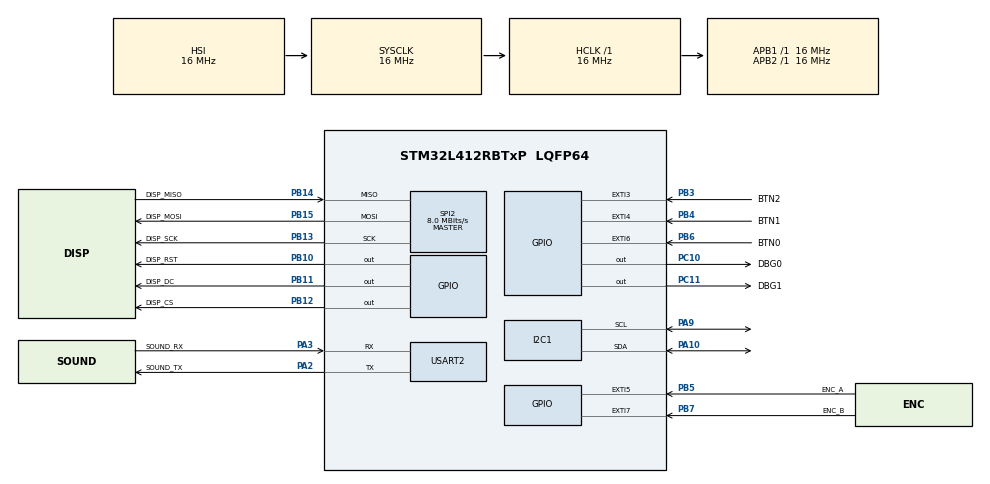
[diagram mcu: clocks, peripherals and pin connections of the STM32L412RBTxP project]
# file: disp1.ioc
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I2C1.Timing=0x00503D58
LPTIM2.ClockPrescaler=LPTIM_PRESCALER_DIV8
Mcu.Family=STM32L4
Mcu.Name=STM32L412RBTxP
Mcu.Package=LQFP64
NVIC.EXTI3_IRQn=true\:0\:0\:false\:false\:true\:true\:true\:true
NVIC.EXTI4_IRQn=true\:0\:0\:false\:false\:true\:true\:true\:true
NVIC.EXTI9_5_IRQn=true\:0\:0\:false\:false\:true\:true\:true\:true
NVIC.LPTIM2_IRQn=true\:0\:0\:false\:false\:true\:true\:true\:true
NVIC.PriorityGroup=NVIC_PRIORITYGROUP_4
PA10.Mode=I2C
PA10.Signal=I2C1_SDA
PA13\ (JTMS/SWDIO).Mode=Serial_Wire
PA13\ (JTMS/SWDIO).Signal=SYS_JTMS-SWDIO
PA14\ (JTCK/SWCLK).Mode=Serial_Wire
PA14\ (JTCK/SWCLK).Signal=SYS_JTCK-SWCLK
PA2.GPIO_Label=SOUND_TX
PA2.Mode=Asynchronous
PA2.Signal=USART2_TX
PA3.GPIO_Label=SOUND_RX
PA3.Mode=Asynchronous
PA3.Signal=USART2_RX
PA9.Mode=I2C
PA9.Signal=I2C1_SCL
PB10.GPIO_Label=DISP_RST
PB10.Signal=GPIO_Output
PB11.GPIO_Label=DISP_DC
PB11.Signal=GPIO_Output
PB12.GPIO_Label=DISP_CS
PB12.Signal=GPIO_Output
PB13.GPIO_Label=DISP_SCK
PB13.Mode=Full_Duplex_Master
PB13.Signal=SPI2_SCK
PB14.GPIO_Label=DISP_MISO
PB14.Mode=Full_Duplex_Master
PB14.Signal=SPI2_MISO
PB15.GPIO_Label=DISP_MOSI
PB15.Mode=Full_Duplex_Master
PB15.Signal=SPI2_MOSI
PB3\ (JTDO/TRACESWO).GPIO_Label=BTN2
PB3\ (JTDO/TRACESWO).GPIO_ModeDefaultEXTI=GPIO_MODE_IT_RISING_FALLING
PB3\ (JTDO/TRACESWO).GPIO_PuPd=GPIO_PULLUP
PB3\ (JTDO/TRACESWO).Signal=GPXTI3
PB4\ (NJTRST).GPIO_Label=BTN1
PB4\ (NJTRST).GPIO_ModeDefaultEXTI=GPIO_MODE_IT_RISING_FALLING
PB4\ (NJTRST).GPIO_PuPd=GPIO_PULLUP
PB4\ (NJTRST).Signal=GPXTI4
PB5.GPIO_Label=ENC_A
PB5.GPIO_ModeDefaultEXTI=GPIO_MODE_IT_RISING_FALLING
PB5.GPIO_PuPd=GPIO_PULLUP
PB5.Signal=GPXTI5
PB6.GPIO_Label=BTN0
PB6.GPIO_ModeDefaultEXTI=GPIO_MODE_IT_RISING_FALLING
PB6.GPIO_PuPd=GPIO_PULLUP
PB6.Signal=GPXTI6
PB7.GPIO_Label=ENC_B
PB7.GPIO_ModeDefaultEXTI=GPIO_MODE_IT_RISING_FALLING
PB7.GPIO_PuPd=GPIO_PULLUP
PB7.Signal=GPXTI7
PC10.GPIO_Label=DBG0
PC10.Signal=GPIO_Output
PC11.GPIO_Label=DBG1
PC11.Signal=GPIO_Output
ProjectManager.HeapSize=0x200
ProjectManager.StackSize=0x400
ProjectManager.TargetToolchain=STM32CubeIDE
RCC.ADCFreq_Value=16000000
RCC.AHBFreq_Value=16000000
RCC.APB1Freq_Value=16000000
RCC.APB1TimFreq_Value=16000000
RCC.APB2Freq_Value=16000000
RCC.APB2TimFreq_Value=16000000
RCC.CortexFreq_Value=16000000
RCC.HCLKFreq_Value=16000000
RCC.HSE_VALUE=8000000
RCC.HSI48_VALUE=48000000
RCC.HSI_VALUE=16000000
RCC.LPTIM2CLockSelection=RCC_LPTIM2CLKSOURCE_LSI
RCC.LSE_VALUE=32768
RCC.MSI_VALUE=4000000
RCC.SYSCLKFreq_VALUE=16000000
RCC.SYSCLKSource=RCC_SYSCLKSOURCE_HSI
RCC.USBFreq_Value=4000000
RCC.VCOOutputFreq_Value=32000000
SPI2.BaudRatePrescaler=SPI_BAUDRATEPRESCALER_2
SPI2.CalculateBaudRate=8.0 MBits/s
SPI2.DataSize=SPI_DATASIZE_8BIT
SPI2.Direction=SPI_DIRECTION_2LINES
SPI2.Mode=SPI_MODE_MASTER
SPI2.TIMode=SPI_TIMODE_DISABLE
SPI2.VirtualType=VM_MASTER
USART2.VirtualMode-Asynchronous=VM_ASYNC
VP_LPTIM2_VS_LPTIM_counterModeInternalClock.Mode=Counts__internal_clock_event_00
board=custom

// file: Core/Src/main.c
/* USER CODE BEGIN Header */
/**
  ******************************************************************************
  * @file           : main.c
  * @brief          : Main program body
  ******************************************************************************
  * @attention
  *
  * Copyright (c) 2025 STMicroelectronics.
  * All rights reserved.
  *
  * This software is licensed under terms that can be found in the LICENSE file
  * in the root directory of this software component.
  * If no LICENSE file comes with this software, it is provided AS-IS.
  *
  ******************************************************************************
  */
/* USER CODE END Header */
#include "main.h"
#include "i2c.h"
#include "lptim.h"
#include "spi.h"
#include "usart.h"
#include "gpio.h"

/* USER CODE BEGIN Includes */
#include "disp.h"
#include "fonts.h"
#include "usr_in.h"
#include "scheduler.h"
#include "app.h"

/* USER CODE END Includes */

void SystemClock_Config(void);
/* USER CODE BEGIN PFP */
//HAL_GPIO_WritePin(DBG1_GPIO_Port, DBG1_Pin, GPIO_PIN_SET);
#define set_pin(x)  HAL_GPIO_WritePin(x##_GPIO_Port, x##_Pin, GPIO_PIN_SET);
//HAL_GPIO_WritePin(DBG1_GPIO_Port, DBG1_Pin, GPIO_PIN_RESET);
#define clr_pin(x)  HAL_GPIO_WritePin(x##_GPIO_Port, x##_Pin, GPIO_PIN_RESET);
/* USER CODE END PFP */

/* USER CODE BEGIN 0 */
void main_lptim2_isr(void) {
	LL_LPTIM_ClearFlag_CMPM(LPTIM2);
	//HAL_GPIO_WritePin(DBG0_GPIO_Port, DBG0_Pin, GPIO_PIN_SET);
	set_pin(DBG0);
	set_pin(DBG1);
	ev_timer_ISR();
	clr_pin(DBG1);
	clr_pin(DBG0);
}

/* USER CODE END 0 */

int main(void)
{

  /* USER CODE BEGIN 1 */
	event_t tev;
  /* USER CODE END 1 */

  /* MCU Configuration--------------------------------------------------------*/

  /* Reset of all peripherals, Initializes the Flash interface and the Systick. */
  HAL_Init();

  /* Configure the system clock */
  SystemClock_Config();

  /* Initialize all configured peripherals */
  MX_GPIO_Init();
  MX_SPI2_Init();
  MX_USART2_UART_Init();
  MX_I2C1_Init();
  MX_LPTIM2_Init();
  /* USER CODE BEGIN 2 */
  	HAL_GPIO_WritePin(DBG0_GPIO_Port, DBG0_Pin, GPIO_PIN_RESET);
  	HAL_GPIO_WritePin(DBG1_GPIO_Port, DBG1_Pin, GPIO_PIN_RESET);

  	usr_in_init();

	disp_init();
	disp_rotation(6, 0, 0); // correct rotation for this project

	// call MX_LPTIM2_Init(); before, scheduler, event_timer uses LPTIM2
	scheduler_init();
	events_start_timer(1);
	app_init();

/*
	tev.data = NULL;
	tev.event = 100;
	tev.tid = app_ev_task_id;
	events_add_single_timer_event(3, &tev); // 100 * 10 ms
	tev.event = 101;
	events_add_single_timer_event(4, &tev); // 100 * 10 ms
	tev.event = 102;
	events_add_single_timer_event(7, &tev); // 100 * 10 ms
	tev.event = 103;
	events_add_single_timer_event(12, &tev); // 100 * 10 ms*/

  /* USER CODE END 2 */

  /* Infinite loop */
  /* USER CODE BEGIN WHILE */
	while (1)
	{
		scheduler_run();
    /* USER CODE END WHILE */

	}
}

void SystemClock_Config(void)
{
  RCC_OscInitTypeDef RCC_OscInitStruct = {0};
  RCC_ClkInitTypeDef RCC_ClkInitStruct = {0};

  /** Configure the main internal regulator output voltage
  */
  if (HAL_PWREx_ControlVoltageScaling(PWR_REGULATOR_VOLTAGE_SCALE1) != HAL_OK)
  {
    Error_Handler();
  }

  /** Initializes the RCC Oscillators according to the specified parameters
  * in the RCC_OscInitTypeDef structure.
  */
  RCC_OscInitStruct.OscillatorType = RCC_OSCILLATORTYPE_HSI|RCC_OSCILLATORTYPE_LSI;
  RCC_OscInitStruct.HSIState = RCC_HSI_ON;
  RCC_OscInitStruct.HSICalibrationValue = RCC_HSICALIBRATION_DEFAULT;
  RCC_OscInitStruct.LSIState = RCC_LSI_ON;
  RCC_OscInitStruct.PLL.PLLState = RCC_PLL_NONE;
  if (HAL_RCC_OscConfig(&RCC_OscInitStruct) != HAL_OK)
  {
    Error_Handler();
  }

  /** Initializes the CPU, AHB and APB buses clocks
  */
  RCC_ClkInitStruct.ClockType = RCC_CLOCKTYPE_HCLK|RCC_CLOCKTYPE_SYSCLK
                              |RCC_CLOCKTYPE_PCLK1|RCC_CLOCKTYPE_PCLK2;
  RCC_ClkInitStruct.SYSCLKSource = RCC_SYSCLKSOURCE_HSI;
  RCC_ClkInitStruct.AHBCLKDivider = RCC_SYSCLK_DIV1;
  RCC_ClkInitStruct.APB1CLKDivider = RCC_HCLK_DIV1;
  RCC_ClkInitStruct.APB2CLKDivider = RCC_HCLK_DIV1;

  if (HAL_RCC_ClockConfig(&RCC_ClkInitStruct, FLASH_LATENCY_0) != HAL_OK)
  {
    Error_Handler();
  }
}

void Error_Handler(void)
{
  __disable_irq();
  while (1)
  {
  }
}
